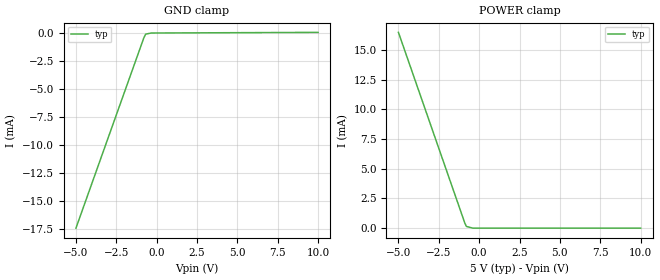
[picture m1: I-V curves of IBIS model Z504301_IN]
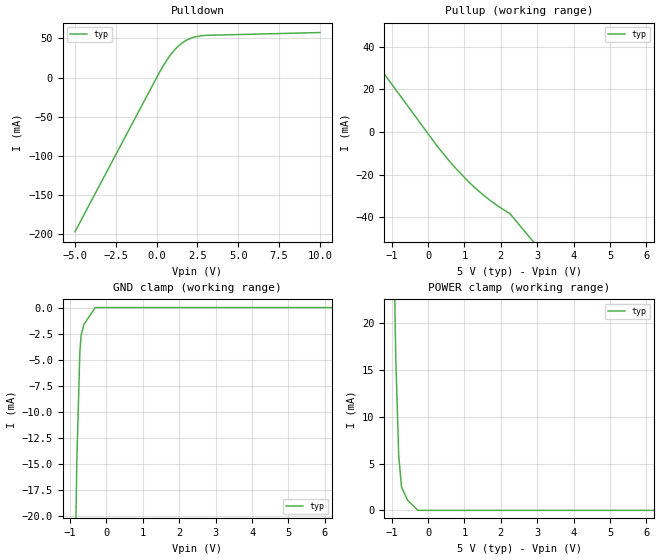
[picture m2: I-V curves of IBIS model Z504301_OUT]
| YOU ARE ONLY AUTHORIZED TO USE THIS SOFTWARE
| ACCORDING TO LICENSOR'S LICENSE RESTRICTIONS.
[IBIS Ver] 3.1
[File Name] mc54hct74aj.ibs
[File Rev] 2.0
[Source] Measured and created by ICX Technology
[Date] Friday 7/14/00 9:08:11 AM
[Copyright]
| (C) COPYRIGHT 1993-2000
| MENTOR GRAPHICS CORPORATION
| ICX STANDARD LIBRARY, ICX PROJECT MODELING,
| ICX CUSTOM MODELING, ICX VENDOR MODEL
| ALL RIGHTS RESERVED.
| THE FOLLOWING ARE TRADEMARKS OR SERVICE MARKS OF
| MENTOR GRAPHICS CORPORATION:ICX (R), ICX STANDARD
| LIBRARY(R), ICX PROJECT MODELING(R), ICX CUSTOM
| MODELING(R), qualityIBIS(TM), MODELVIEWER(TM),
| AND MODELEDITOR(TM)
| ALL COPIES OF SOFTWARE, INCLUDING BUT NOT LIMITED TO
| ANY MODIFICATIONS, ENHANCEMENTS OR DERIVATIVE WORKS,
| MUST CONTAIN ALL MENTOR GRAPHICS CORPORATION'S
| NOTICES AND LEGENDS, INCLUDING THOSE EMBEDDED IN
| SOFTWARE AND THOSE AFFIXED TO SOFTWARE MEDIUM
| AND CONTAINER, AS RECEIVED FROM MENTOR GRAPHICS
| CORPORATION.
|  ZAP Model Builder 2.7
[Component] MC54HCT74AJ
[Manufacturer] OnSemiconductor
[Package]
| variable   typ   min   max
R_pkg  .21ohms NA NA
L_pkg  4.543nH NA NA
C_pkg  1.8pF NA NA
[Pin] signal_name  model_name  R_pin  L_pin C_pin
1 _CLR Z504301_IN .22 6.757n 2.434p
2 D Z504301_IN .212 4.757n 1.941p
3 CLK Z504301_IN .204 3.257n 1.448p
4 _PRE Z504301_IN .196 2.257n .955p
5 Q Z504301_OUT .204 3.257n 1.448p
6 _Q Z504301_OUT .212 4.757n 1.941p
7 GND GND .22 6.757n 2.434p
8 _Q Z504301_OUT .22 6.757n 2.434p
9 Q Z504301_OUT .212 4.757n 1.941p
10 _PRE Z504301_IN .204 3.257n 1.448p
11 CLK Z504301_IN .196 2.257n .955p
12 D Z504301_IN .204 3.257n 1.448p
13 _CLR Z504301_IN .212 4.757n 1.941p
14 VCC POWER .22 6.757n 2.434p
| Models and submodels in the file (2): Z504301_IN (Input), Z504301_OUT (Output)
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| (C) COPYRIGHT 1993-2000
| MENTOR GRAPHICS CORPORATION
| ICX STANDARD LIBRARY, ICX PROJECT MODELING,
| ICX CUSTOM MODELING, ICX VENDOR MODEL
| ALL RIGHTS RESERVED.
| THE FOLLOWING ARE TRADEMARKS OR SERVICE MARKS OF
| MENTOR GRAPHICS CORPORATION:ICX (R), ICX STANDARD
| LIBRARY(R), ICX PROJECT MODELING(R), ICX CUSTOM
| MODELING(R), qualityIBIS(TM), MODELVIEWER(TM),
| AND MODELEDITOR(TM)
| ALL COPIES OF SOFTWARE, INCLUDING BUT NOT LIMITED TO
| ANY MODIFICATIONS, ENHANCEMENTS OR DERIVATIVE WORKS,
| MUST CONTAIN ALL MENTOR GRAPHICS CORPORATION'S
| NOTICES AND LEGENDS, INCLUDING THOSE EMBEDDED IN
| SOFTWARE AND THOSE AFFIXED TO SOFTWARE MEDIUM
| AND CONTAINER, AS RECEIVED FROM MENTOR GRAPHICS
| CORPORATION.
| Model Application Version 1.89 2/18/99.
[Model] Z504301_IN
Model_type Input
Vinl = 800.0mV
Vinh = 2.000V
C_comp 4.000pF NA NA
| variable typ   min   max
[Voltage Range] 5.000V NA NA
[GND Clamp Reference] 0.000V NA NA
[POWER Clamp Reference] 5.000V NA NA
[GND Clamp]
-5V       -17.43mA   NA         NA
-801.4mV  -485.1uA   NA         NA
-683.6mV  -127.6uA   NA         NA
-341.8mV  -24.11uA   NA         NA
10V       33.06uA    NA         NA
[POWER Clamp]
-5V       16.49mA    NA         NA
-884mV    413.1uA    NA         NA
-791mV    145.6uA    NA         NA
-395.5mV  0A         NA         NA
10V       0A         NA         NA
| (C) COPYRIGHT 1993-2000
| MENTOR GRAPHICS CORPORATION
| ICX STANDARD LIBRARY, ICX PROJECT MODELING,
| ICX CUSTOM MODELING, ICX VENDOR MODEL
| ALL RIGHTS RESERVED.
| THE FOLLOWING ARE TRADEMARKS OR SERVICE MARKS OF
| MENTOR GRAPHICS CORPORATION:ICX (R), ICX STANDARD
| LIBRARY(R), ICX PROJECT MODELING(R), ICX CUSTOM
| MODELING(R), qualityIBIS(TM), MODELVIEWER(TM),
| AND MODELEDITOR(TM)
| ALL COPIES OF SOFTWARE, INCLUDING BUT NOT LIMITED TO
| ANY MODIFICATIONS, ENHANCEMENTS OR DERIVATIVE WORKS,
| MUST CONTAIN ALL MENTOR GRAPHICS CORPORATION'S
| NOTICES AND LEGENDS, INCLUDING THOSE EMBEDDED IN
| SOFTWARE AND THOSE AFFIXED TO SOFTWARE MEDIUM
| AND CONTAINER, AS RECEIVED FROM MENTOR GRAPHICS
| CORPORATION.
| Model Application Version 1.89 2/18/99.
[Model] Z504301_OUT
Model_type Output
Vref=0.000V
Rref=500.0Mohms
Cref=50.00pF
Vmeas=1.300V
C_comp 8.000pF NA NA
| variable typ   min   max
[Voltage Range] 5.000V NA NA
[POWER Clamp Reference] 5.000V NA NA
[Pullup Reference] 5.000V NA NA
[Pulldown Reference] 0.000V NA NA
[GND Clamp Reference] 0.000V NA NA
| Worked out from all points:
|   slope of the pulldown table from 0 to 0.75 V, typ, clamps not added: 28.7 ohm
|   slope of the pullup table from 0 to 0.75 V, typ, clamps not added: 46.9 ohm
[GND Clamp]
-5V       -1.147A    NA         NA
-1.034V   -66.22mA   NA         NA
-815.4mV  -14.97mA   NA         NA
-732.7mV  -4.436mA   NA         NA
-698.1mV  -2.678mA   NA         NA
-619.1mV  -1.607mA   NA         NA
-309.5mV  0A         NA         NA
10V       0A         NA         NA
[Pulldown]
-5V       -196.8mA   NA         NA
163.1mV   6.435mA    NA         NA
796.9mV   27.66mA    NA         NA
1.105V    35.61mA    NA         NA
1.515V    43.49mA    NA         NA
2.127V    50.61mA    NA         NA
2.959V    53.97mA    NA         NA
10V       57.57mA    NA         NA
[Pullup]
-5V       115.5mA    NA         NA
257mV     -6.724mA   NA         NA
664mV     -15.19mA   NA         NA
1.076V    -22.63mA   NA         NA
1.273V    -25.86mA   NA         NA
1.469V    -28.76mA   NA         NA
1.685V    -31.73mA   NA         NA
1.9V      -34.41mA   NA         NA
2.199V    -37.7mA    NA         NA
2.237V    -37.94mA   NA         NA
10V       -197.3mA   NA         NA
[POWER Clamp]
-5V       1.309A     NA         NA
-1.001V   43.03mA    NA         NA
-889mV    16.66mA    NA         NA
-806mV    5.819mA    NA         NA
-728mV    2.473mA    NA         NA
-559mV    1.062mA    NA         NA
-279.5mV  0A         NA         NA
10V       0A         NA         NA
[Ramp]
| variable typ min max
dV/dt_r 2.773/824.7p NA NA
dV/dt_f 2.773/592.1p NA NA
R_load = 500.0Ohms
